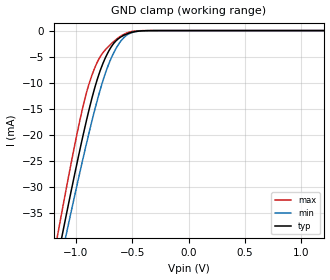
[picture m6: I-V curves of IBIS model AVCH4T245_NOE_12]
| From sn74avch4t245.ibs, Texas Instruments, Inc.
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[Model]   AVCH4T245_NOE_12
Model_type  Input
Vinl=0.385
Vinh=0.845
| variable   typ   min   max
C_comp   2.92pF   2.54pF   3.33pF
[Temperature Range]   40   100   -40
| Ambient temperature   25   85   -40
[Voltage range]   1.2   1.1   1.3
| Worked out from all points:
|   GND clamp passes 1 mA (typ) near -0.58 V on its own axis
[GND Clamp]
| AVCH4T245_NOE_12
|   Voltage   I(typ)   I(min)   I(max)
-4.6V     -459.2mA   -437.9mA   -484.2mA
-1.165V   -43.78mA   -47mA      -39.35mA
-1.115V   -38.35mA   -41.89mA   -33.51mA
-1.09V    -35.67mA   -39.36mA   -30.63mA
-1.065V   -33.02mA   -36.85mA   -27.8mA
-945mV    -20.79mA   -25.16mA   -15.18mA
-840mV    -11.44mA   -15.71mA   -7.485mA
-710mV    -3.942mA   -6.433mA   -2.997mA
-630mV    -1.665mA   -2.889mA   -1.475mA
-555mV    -700.6uA   -964.8uA   -509.7uA
-385mV    -23.61uA   -32.06uA   -5.101uA
1.2V      106.8pA    765.6pA    17.5pA
